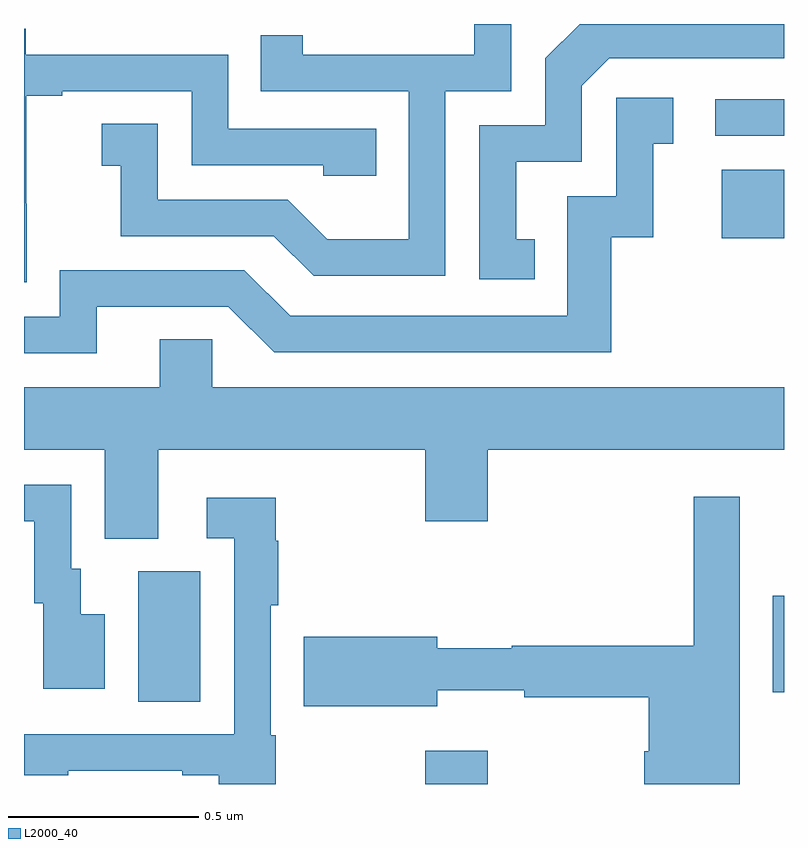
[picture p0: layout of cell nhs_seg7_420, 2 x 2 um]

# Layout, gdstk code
import gdstk
lib = gdstk.Library(unit=1e-6, precision=1e-09)
def R(c, l, rs):  # rectangles x0, y0, x1, y1
    for r in rs: c.add(gdstk.rectangle(r[:2], r[2:], *l))
def P(c, l, *ps):  # polygons
    for p in ps: c.add(gdstk.Polygon(p, *l))
L2000_40 = (2000, 40)

nhs_seg7_420 = lib.new_cell('nhs_seg7_420')
R(nhs_seg7_420, L2000_40, [(117.056,1069,117.22,1069.087), (116.3,1069.216,116.464,1069.56), (117.971,1069.241,118,1069.495), (117.836,1070.436,118,1070.617), (117.819,1070.706,118,1070.802)])
P(nhs_seg7_420, L2000_40, [(117.344,1070.433),(117.295,1070.433),(117.295,1070.637),(117.468,1070.637),(117.468,1070.838),(117.54,1070.91),(118,1070.91),(118,1071),(117.462,1071),(117.372,1070.91),(117.372,1070.733),(117.198,1070.733),(117.198,1070.328),(117.344,1070.328)],
  [(117.108,1070.823),(117.282,1070.823),(117.282,1071),(117.185,1071),(117.185,1070.919),(116.734,1070.919),(116.734,1070.971),(116.623,1070.971),(116.623,1070.823),(117.012,1070.823),(117.012,1070.434),(116.798,1070.434),(116.694,1070.538),(116.352,1070.538),(116.352,1070.737),(116.205,1070.737),(116.205,1070.627),(116.254,1070.627),(116.254,1070.442),(116.657,1070.442),(116.762,1070.337),(117.108,1070.337)],
  [(116.007,1070.527),(116.006,1070.527),(116.006,1070.811),(116.101,1070.811),(116.101,1070.823),(116.442,1070.823),(116.442,1070.628),(116.787,1070.628),(116.787,1070.601),(116.927,1070.601),(116.927,1070.724),(116.538,1070.724),(116.538,1070.919),(116.004,1070.919),(116.004,1070.988),(116,1070.988),(116,1070.321),(116.007,1070.321)],
  [(116.191,1070.256),(116.538,1070.256),(116.658,1070.136),(117.545,1070.136),(117.545,1070.439),(117.656,1070.439),(117.656,1070.685),(117.709,1070.685),(117.709,1070.806),(117.558,1070.806),(117.558,1070.547),(117.429,1070.547),(117.429,1070.232),(116.7,1070.232),(116.58,1070.352),(116.094,1070.352),(116.094,1070.229),(116,1070.229),(116,1070.133),(116.191,1070.133)],
  [(116.353,1069.88),(117.056,1069.88),(117.056,1069.692),(117.22,1069.692),(117.22,1069.88),(118,1069.88),(118,1070.044),(116.496,1070.044),(116.496,1070.171),(116.357,1070.171),(116.357,1070.044),(116,1070.044),(116,1069.88),(116.213,1069.88),(116.213,1069.645),(116.353,1069.645)],
  [(116.212,1069.447),(116.149,1069.447),(116.149,1069.566),(116.124,1069.566),(116.124,1069.788),(116,1069.788),(116,1069.692),(116.027,1069.692),(116.027,1069.476),(116.051,1069.476),(116.051,1069.251),(116.212,1069.251)],
  [(117.883,1069.756),(117.762,1069.756),(117.762,1069.364),(117.284,1069.364),(117.284,1069.357),(117.088,1069.357),(117.088,1069.388),(116.736,1069.388),(116.736,1069.205),(117.088,1069.205),(117.088,1069.247),(117.316,1069.247),(117.316,1069.228),(117.644,1069.228),(117.644,1069.086),(117.632,1069.086),(117.632,1069),(117.883,1069)],
  [(116.662,1069.128),(116.649,1069.128),(116.649,1069.471),(116.669,1069.471),(116.669,1069.64),(116.662,1069.64),(116.662,1069.753),(116.481,1069.753),(116.481,1069.647),(116.553,1069.647),(116.553,1069.131),(116,1069.131),(116,1069.023),(116.117,1069.023),(116.117,1069.035),(116.417,1069.035),(116.417,1069.023),(116.513,1069.023),(116.513,1069),(116.662,1069)])

lib.write_gds('nhs_seg7_420.gds')
